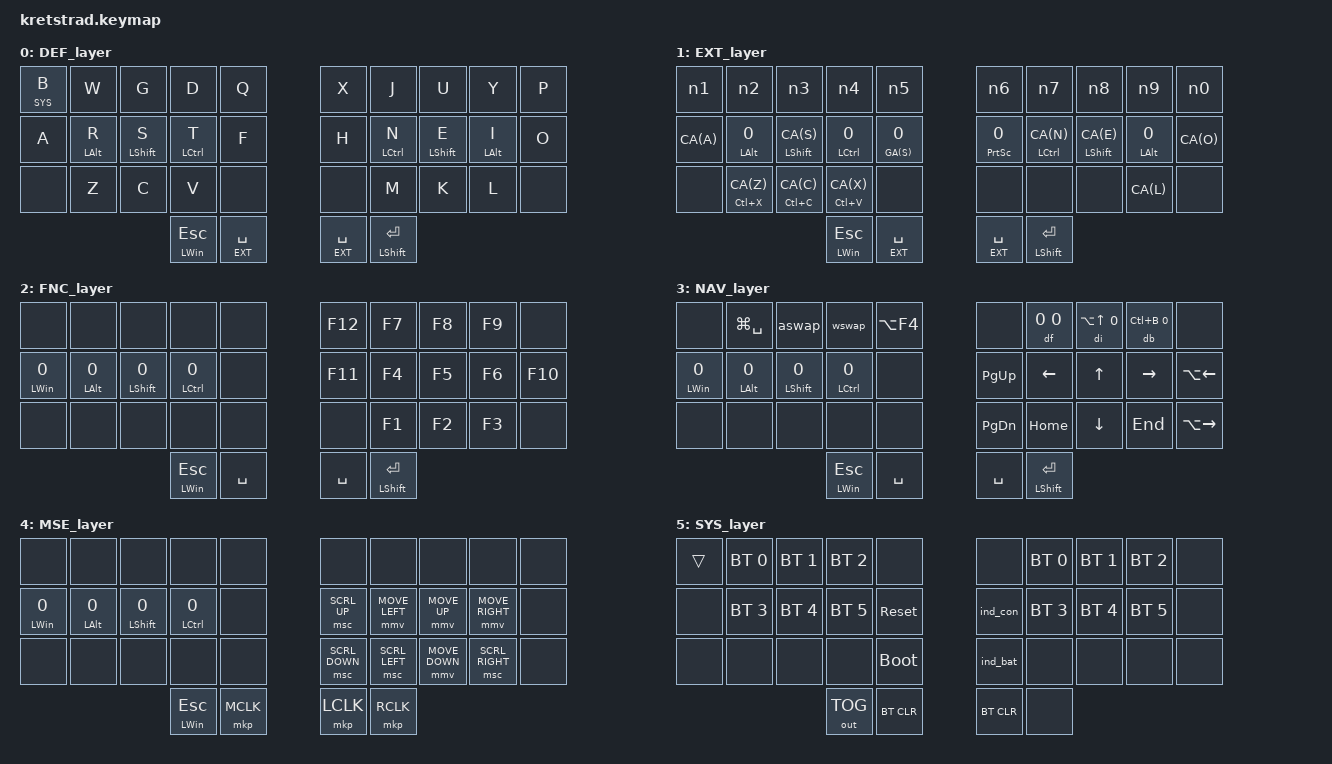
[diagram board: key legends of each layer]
#include <behaviors.dtsi>
#include <dt-bindings/zmk/behaviors.h>
#include <dt-bindings/zmk/keys.h>
#include <dt-bindings/zmk/bt.h>
#include <dt-bindings/zmk/outputs.h>
#include <behaviors/rgbled_widget.dtsi>
// #include "elpekenin/behaviors.dtsi"
// #include <dt-bindings/zmk/keys.h>
#include <behaviors/num_word.dtsi>

// Obsługa myszy (dwa poniższe DEFINE muszą być dodane przez INCLUDE)
#define ZMK_POINTING_DEFAULT_MOVE_VAL 1500  // default: 600
#define ZMK_POINTING_DEFAULT_SCRL_VAL 20    // default: 10
#include <dt-bindings/zmk/pointing.h>
#include <dt-bindings/zmk/mouse.h>

// #define DEF 0           // QWERTY
// #define COL 1           // Colemak-DH
// #define NUM 2           // liczby
// #define NAV 3           // nawigacja
// #define CONF 4          // konfiguracja (np. Bluetooth)

#define DEF 0           // DEFAULT
#define EXT 1           // ACCENTED LETTERS
#define FNC 2           // FUNCTIONS
#define NAV 3           // NAVIGATION
#define MSE 4           // MOUSE
#define SYS 5           // SYSTEM (Bluetooth configuration, etc.)

#define SFT LSHFT
#define CTL LCTRL
#define ALT LALT
#define WIN LWIN
#define SCR PSCRN

#define SG(KEY) LS(LG(KEY))
#define SA(KEY) LS(LA(KEY))
#define SC(KEY) LS(LC(KEY))
#define CA(KEY) LC(LA(KEY))
#define GA(KEY) LG(LA(KEY))
#define SCA(KEY) LS(LC(LA(KEY)))

#define SNIP LSG(S)                 // wykonuje zrzut ekranu za pomocą narzędzia SNIP (Win+Shift+S)
// #define DESK LGC(F4)                // zamyka pulpit wirtualny

/ {
    keymap {
        compatible = "zmk,keymap";

            //  |       0       |       1       |       2       |       3       |       4       |       |       5       |       6       |       7       |       8       |       9       |
        DEF_layer {
            bindings = <
                &lt SYS B       &kp W           &kp G           &kp D           &kp Q                   &kp X           &kp J           &kp U           &kp Y           &kp P
                &kp A           &hl ALT R       &hl SFT S       &hl CTL T       &kp F                   &kp H           &hr CTL N       &hr SFT E       &hr ALT I       &kp O
                &none           &kp Z           &kp C           &kp V           &none                   &none           &kp M           &kp K           &kp L           &none
                                                                &mt WIN ESC     &lt EXT SPACE           &lt EXT SPACE   &mt SFT ENTER
            >;
        };

        EXT_layer {
            bindings = <
                &n1             &n2             &n3             &n4             &n5                     &n6             &n7             &n8             &n9             &n0
                &kp CA(A)       &hl ALT 0       &hl SFT CA(S)   &hl CTL 0       &mt GA(S) 0             &mt SCR 0       &hr CTL CA(N)   &hr SFT CA(E)   &hr ALT 0       &kp CA(O)
                &none           &mt LC(X) CA(Z) &mt LC(C) CA(C) &mt LC(V) CA(X) &none                   &none           &none           &none           &kp CA(L)       &none
                                                                &mt WIN ESC     &lt EXT SPACE           &lt EXT SPACE   &mt SFT ENTER
            >;
        };

        FNC_layer {
            bindings = <
                &none           &none           &none           &none           &none                   &kp F12         &kp F7          &kp F8          &kp F9          &none 
                &hl WIN 0       &hl ALT 0       &hl SFT 0       &hl CTL 0       &none                   &kp F11         &kp F4          &kp F5          &kp F6          &kp F10
                &none           &none           &none           &none           &none                   &none           &kp F1          &kp F2          &kp F3          &none           
                                                                &mt WIN ESC     &kp SPACE               &kp SPACE       &mt SFT ENTER
            >;
        };

        NAV_layer {
            bindings = <
                &none           &kp LG(SPACE)   &aswap          &wswap          &kp LA(F4)              &none           &df 0 0         &di LA(UP) 0    &db LC(B) 0     &none
                &hl WIN 0       &hl ALT 0       &hl SFT 0       &hl CTL 0       &none                   &kp PG_UP       &kp LEFT        &kp UP          &kp RIGHT       &kp LA(LEFT)
                &none           &none           &none           &none           &none                   &kp PG_DN       &kp HOME        &kp DOWN        &kp END         &kp LA(RIGHT)
                                                                &mt WIN ESC     &kp SPACE               &kp SPACE       &mt SFT ENTER
            >;
        };        

        MSE_layer {
            bindings = <
                &none           &none           &none           &none           &none                   &none           &none           &none           &none           &none
                &hl WIN 0       &hl ALT 0       &hl SFT 0       &hl CTL 0       &none                   &msc SCRL_UP    &mmv MOVE_LEFT  &mmv MOVE_UP    &mmv MOVE_RIGHT &none
                &none           &none           &none           &none           &none                   &msc SCRL_DOWN  &msc SCRL_LEFT  &mmv MOVE_DOWN  &msc SCRL_RIGHT &none
                                                                &mt WIN ESC     &mkp MCLK               &mkp LCLK       &mkp RCLK
            >;
        };

        SYS_layer {
            bindings = <
                &trans          &bt BT_SEL 0    &bt BT_SEL 1    &bt BT_SEL 2    &none                   &none           &bt BT_SEL 0    &bt BT_SEL 1    &bt BT_SEL 2    &none
                &none           &bt BT_SEL 3    &bt BT_SEL 4    &bt BT_SEL 5    &sys_reset              &ind_con        &bt BT_SEL 3    &bt BT_SEL 4    &bt BT_SEL 5    &none
                &none           &none           &none           &none           &bootloader             &ind_bat        &none           &none           &none           &none
                                                                &out OUT_TOG    &bt BT_CLR              &bt BT_CLR      &none
            >;
        };
    };

    combos {
        compatible = "zmk,combos";
    
        /*                KEY POSITIONS
        ╭────────────────────╮ ╭────────────────────╮
        │  0   1   2   3   4 │ │  5   6   7   8   9 │
        │ 10  11  12  13  14 │ │ 15  16  17  18  19 │
        │ 20  21  22  23  24 │ │ 25  26  27  28  29 │
        ╰───────────╮ 30  31 │ │ 32  33 ╭───────────╯
                    ╰────────╯ ╰────────╯         */

        combo_caps  {key-positions = <10 19>; bindings = <&kp CAPS>; layers = <DEF EXT>; timeout-ms = <100>;};
        combo_cwrd  {key-positions = <12 17>; bindings = <&caps_word>; layers = <DEF EXT>; timeout-ms = <100>;};
        combo_nav   {key-positions = <31 32>; bindings = <&an NAV NAV>; layers = <DEF EXT>; timeout-ms = <100>;};
        combo_fnc   {key-positions = <30 33>; bindings = <&af FNC FNC>; layers = <DEF>; timeout-ms = <100>;};

        combo_tab   {key-positions = <22 23>; bindings = <&kp TAB>; layers = <DEF>; timeout-ms = <100>;};
        combo_esc   {key-positions = <22 23>; bindings = <&kp ESC>; layers = <EXT>; timeout-ms = <100>;};
        combo_bsp   {key-positions = <26 27>; bindings = <&kp BSPC>; layers = <DEF>; timeout-ms = <100>;};
        combo_del   {key-positions = <26 27>; bindings = <&kp DEL>; layers = <EXT>; timeout-ms = <100>;};

        combo_lead  {key-positions = <0 10>; bindings = <&leader>; layers = <DEF>; timeout-ms = <100>;};
        combo_mouse {key-positions = <9 19>; bindings = <&mouse MSE>; layers = <DEF>; timeout-ms = <100>;};

        // TOP-MIDDLE ROW
        combo_grave {key-positions = <2 3>; bindings = <&grave>; layers = <DEF>; timeout-ms = <100>;};
        combo_apos  {key-positions = <6 7>; bindings = <&apos>; layers = <DEF>; timeout-ms = <100>;};
        combo_tilde {key-positions = <2 3>; bindings = <&kp TILDE>; layers = <EXT>; timeout-ms = <100>;};
        combo_dqt   {key-positions = <6 7>; bindings = <&kp DQT>; layers = <EXT>; timeout-ms = <100>;};

        combo_lbkt  {key-positions = <1 11>; bindings = <&lbkt>; layers = <DEF>; timeout-ms = <100>;};
        combo_rbkt  {key-positions = <2 12>; bindings = <&rbkt>; layers = <DEF>; timeout-ms = <100>;};
        combo_bslh  {key-positions = <3 13>; bindings = <&bslh>; layers = <DEF>; timeout-ms = <100>;};
        combo_plus  {key-positions = <4 14>; bindings = <&plpe>; layers = <DEF>; timeout-ms = <100>;};
        combo_star  {key-positions = <5 15>; bindings = <&stun>; layers = <DEF>; timeout-ms = <100>;};
        combo_fslh  {key-positions = <6 16>; bindings = <&fslh>; layers = <DEF>; timeout-ms = <100>;};
        combo_lpar  {key-positions = <7 17>; bindings = <&lpar>; layers = <DEF>; timeout-ms = <100>;};
        combo_rpar  {key-positions = <8 18>; bindings = <&rpar>; layers = <DEF>; timeout-ms = <100>;};

        combo_lbrc  {key-positions = <1 11>; bindings = <&kp LBRC>; layers = <EXT>; timeout-ms = <100>;};
        combo_rbrc  {key-positions = <2 12>; bindings = <&kp RBRC>; layers = <EXT>; timeout-ms = <100>;};
        combo_excl  {key-positions = <3 13>; bindings = <&kp EXCL>; layers = <EXT>; timeout-ms = <100>;};
        combo_qmark {key-positions = <6 16>; bindings = <&kp QMARK>; layers = <EXT>; timeout-ms = <100>;};
        combo_lt    {key-positions = <7 17>; bindings = <&kp LT>; layers = <EXT>; timeout-ms = <100>;};
        combo_gt    {key-positions = <8 18>; bindings = <&kp GT>; layers = <EXT>; timeout-ms = <100>;};

        // MIDDLE-BOTTOM ROW
        combo_colon {key-positions = <11 21>; bindings = <&colon>; layers = <DEF>; timeout-ms = <100>;};
        combo_semi  {key-positions = <12 22>; bindings = <&semi>; layers = <DEF>; timeout-ms = <100>;};
        combo_equal {key-positions = <13 23>; bindings = <&equal>; layers = <DEF>; timeout-ms = <100>;};
        combo_minus {key-positions = <16 26>; bindings = <&minus>; layers = <DEF>; timeout-ms = <100>;};
        combo_comma {key-positions = <17 27>; bindings = <&comma>; layers = <DEF>; timeout-ms = <100>;};
        combo_dot   {key-positions = <18 28>; bindings = <&dot>; layers = <DEF>; timeout-ms = <100>;};
        // combo_under {key-positions = <27 28>; bindings = <&under>; layers = <DEF>; timeout-ms = <100>;};

        combo_at    {key-positions = <11 21>; bindings = <&kp AT>; layers = <EXT>; timeout-ms = <100>;};
        combo_hash  {key-positions = <12 22>; bindings = <&kp HASH>; layers = <EXT>; timeout-ms = <100>;};
        combo_dllr  {key-positions = <13 23>; bindings = <&kp DLLR>; layers = <EXT>; timeout-ms = <100>;};
        combo_prcnt {key-positions = <4 14>; bindings = <&kp PRCNT>; layers = <EXT>; timeout-ms = <100>;};
        combo_under {key-positions = <5 15>; bindings = <&kp UNDER>; layers = <EXT>; timeout-ms = <100>;};
        combo_caret {key-positions = <16 26>; bindings = <&kp CARET>; layers = <EXT>; timeout-ms = <100>;};
        combo_amps  {key-positions = <17 27>; bindings = <&kp AMPS>; layers = <EXT>; timeout-ms = <100>;};
        combo_pipe  {key-positions = <18 28>; bindings = <&kp PIPE>; layers = <EXT>; timeout-ms = <100>;};
        // combo_prcnt {key-positions = <24 25>; bindings = <&kp PRCNT>; layers = <EXT>; timeout-ms = <100>;};
        
        
        // // CAPSLOCK, CAPSWORD
        // clck    {key-positions = <3 6>; bindings = <&kp CLCK>; layers = <DEF COL>; COMBO;};                     // CAPSLOCK
        // cwrd    {key-positions = <13 16>; bindings = <&caps_word>; layers = <DEF COL>; COMBO;};                 // CAPSWORD

        // // ESC, TAB, DEL and BSPC
        // // esc     {key-positions = <2 3>; bindings = <&kp ESC>; layers = <DEF COL NUM NAV>; COMBO;};              // ESC
        // tab     {key-positions = <12 13>; bindings = <&kp TAB>; layers = <DEF COL NUM NAV>; COMBO;};            // TAB
        // // del     {key-positions = <6 7>; bindings = <&kp DEL>; layers = <DEF COL NUM NAV>; COMBO;};              // DEL
        // // bspc    {key-positions = <16 17>; bindings = <&kp BSPC>; layers = <DEF COL NUM NAV>; COMBO;};           // BSPC
        // bsdl    {key-positions = <16 17>; bindings = <&bsdl>; layers = <DEF COL NUM NAV>; COMBO;};              // BSDL

        // // GRAVE, APOS
        // grave   {key-positions = <14 24>; bindings = <&kp GRAVE>; layers = <DEF COL>; COMBO;};                  // `~
        // apos    {key-positions = <15 25>; bindings = <&kp APOS>; layers = <DEF COL>; COMBO;};                   // '"

        // NUMERICS
        // n1      {key-positions = <0 10>; bindings = <&kp N1>; layers = <DEF COL>; COMBO;};                      // 1
        // n2      {key-positions = <1 11>; bindings = <&kp N2>; layers = <DEF COL>; COMBO;};                      // 2
        // n3      {key-positions = <2 12>; bindings = <&kp N3>; layers = <DEF COL>; COMBO;};                      // 3
        // n4      {key-positions = <3 13>; bindings = <&kp N4>; layers = <DEF COL>; COMBO;};                      // 4
        // n5      {key-positions = <4 14>; bindings = <&kp N5>; layers = <DEF COL>; COMBO;};                      // 5
        // n6      {key-positions = <5 15>; bindings = <&kp N6>; layers = <DEF COL>; COMBO;};                      // 6
        // n7      {key-positions = <6 16>; bindings = <&kp N7>; layers = <DEF COL>; COMBO;};                      // 7
        // n8      {key-positions = <7 17>; bindings = <&kp N8>; layers = <DEF COL>; COMBO;};                      // 8
        // n9      {key-positions = <8 18>; bindings = <&kp N9>; layers = <DEF COL>; COMBO;};                      // 9
        // n0      {key-positions = <9 19>; bindings = <&kp N0>; layers = <DEF COL>; COMBO;};                      // 0

        // // SYMBOLS
        // s1      {key-positions = <0 10>; bindings = <&kp EXCL>; layers = <NUM>; COMBO;};                        // !
        // s2      {key-positions = <1 11>; bindings = <&kp AT>; layers = <NUM>; COMBO;};                          // @
        // s3      {key-positions = <2 12>; bindings = <&kp HASH>; layers = <NUM>; COMBO;};                        // #
        // s4      {key-positions = <3 13>; bindings = <&kp DLLR>; layers = <NUM>; COMBO;};                        // $
        // s5      {key-positions = <4 14>; bindings = <&kp PRCNT>; layers = <NUM>; COMBO;};                       // %
        // s6      {key-positions = <5 15>; bindings = <&kp CARET>; layers = <NUM>; COMBO;};                       // ^
        // s7      {key-positions = <6 16>; bindings = <&kp AMPS>; layers = <NUM>; COMBO;};                        // &
        // s8      {key-positions = <7 17>; bindings = <&kp ASTRK>; layers = <NUM>; COMBO;};                       // *
        // // s9      {key-positions = <8 18>; bindings = <&kp N9>; layers = <NUM>; COMBO;};                           // (
        // // s10     {key-positions = <9 19>; bindings = <&kp N0>; layers = <NUM>; COMBO;};                           // )
        // s11     {key-positions = <10 20>; bindings = <&kp PIPE>; layers = <NUM>; COMBO;};                       // |
        // s12     {key-positions = <19 29>; bindings = <&kp QMARK>; layers = <NUM>; COMBO;};                      // ?
        // s13     {key-positions = <14 24>; bindings = <&kp TILDE>; layers = <NUM>; COMBO;};                      // ~
        // s14     {key-positions = <15 25>; bindings = <&kp DQT>; layers = <NUM>; COMBO;};                        // "

        // // PAR, BKT
        // lpar    {key-positions = <17 27>; bindings = <&kp LPAR>; layers = <DEF COL NUM>; COMBO;};               // (
        // rpar    {key-positions = <18 28>; bindings = <&kp RPAR>; layers = <DEF COL NUM>; COMBO;};               // )
        // lbkt    {key-positions = <11 21>; bindings = <&kp LBKT>; layers = <DEF COL>; COMBO;};                   // [{
        // rbkt    {key-positions = <12 22>; bindings = <&kp RBKT>; layers = <DEF COL>; COMBO;};                   // ]}
        // lbrc    {key-positions = <11 21>; bindings = <&kp LBRC>; layers = <NUM>; COMBO;};                       // {
        // rbrc    {key-positions = <12 22>; bindings = <&kp RBRC>; layers = <NUM>; COMBO;};                       // }

        // // EQUAL, COLON
        // equal   {key-positions = <13 23>; bindings = <&kp EQUAL>; layers = <DEF COL NUM>; COMBO;};              // =
        // colon   {key-positions = <16 26>; bindings = <&kp COLON>; layers = <DEF COL NUM>; COMBO;};              // :

        // // SLASH, BSLH
        // bslh    {key-positions = <10 20>; bindings = <&kp BSLH>; layers = <DEF COL>; LCOMBO;};                  // \|
        // slash   {key-positions = <19 29>; bindings = <&kp SLASH>; layers = <DEF COL>; LCOMBO;};                 // /?

        // // MINUS, PLUS, DIV and MUL
        // plus    {key-positions = <13 14>; bindings = <&kp PLUS>; layers = <DEF COL NUM>; COMBO;};               // +
        // mul     {key-positions = <23 24>; bindings = <&kp STAR>; layers = <DEF COL NUM>; COMBO;};                 // *
        // minus   {key-positions = <15 16>; bindings = <&kp MINUS>; layers = <DEF COL NUM>; COMBO;};              // -_
        // div     {key-positions = <25 26>; bindings = <&kp SLASH>; layers = <DEF COL NUM>; COMBO;};                // /

        // // NAV LAYERS COMBOS
        // home    {key-positions = <16 26>; bindings = <&kp HOME>; layers = <NAV>; COMBO;};                       // HOME
        // end     {key-positions = <18 28>; bindings = <&kp END>; layers = <NAV>; COMBO;};                        // END
        // bounce  {key-positions = <15 25>; bindings = <&kp LSC(UP)>; layers = <NAV>; COMBO;};                     // Declaration <-> Implementation

        // // PREV/NEXT/DROP BOOKMARKS
        // bmrk1   {key-positions = <6 16>; bindings = <&kp LCA(LEFT)>; layers = <NAV>; COMBO;};                   // Bookmark prev (Parnassus)
        // bmrk2   {key-positions = <8 18>; bindings = <&kp LCA(RIGHT)>; layers = <NAV>; COMBO;};                  // Bookmark next (Parnassus)
        // bmrk3   {key-positions = <7 17>; bindings = <&kp LC(B)>; layers = <NAV>; COMBO;};                       // Bookmark drop (Parnassus)
        // bmrk4   {key-positions = <14 24>; bindings = <&kp LS(ESC)>; layers = <NAV>; COMBO;};                    // Bookmark drop (Parnassus) - Jumps between two caret bookmarks


        // // UTILS
        // comment {key-positions = <19 29>; bindings = <&kp LC(SLASH)>; layers = <NAV>; LCOMBO;};                 // Ctrl + / - przydaje się do komentowania kodu
        // // exit    {key-positions = <1 2>; bindings = <&kp LG(ESC)>; layers = <NAV>; COMBO;};                      // EXIT (wyjście z Magnify)
    };

    behaviors {
        #define SMORPH(NAME, BINDING1, BINDING2) \
        NAME: NAME { \
            compatible = "zmk,behavior-mod-morph"; #binding-cells = <0>; \
            bindings = <BINDING1>, <BINDING2>; \
            mods = <(MOD_LSFT|MOD_RSFT)>; \
        };

        #define CMORPH(NAME, BINDING1, BINDING2) \
        NAME: NAME { \
            compatible = "zmk,behavior-mod-morph"; #binding-cells = <0>; \
            bindings = <BINDING1>, <BINDING2>; \
            mods = <(MOD_LCTL|MOD_RCTL)>; \
        };

        #define HOLD(NAME, BINDING1, BINDING2) \
        NAME: NAME { \
            compatible = "zmk,behavior-hold-tap"; #binding-cells = <2>; tapping-term-ms = <200>; quick-tap-ms = <175>; \
            bindings = <BINDING1>, <BINDING2>; \
            flavor = "balanced"; \
        };

        SMORPH(tab,     &kp TAB,    &kp ESC)
        SMORPH(bsp,     &kp BSPC,   &kp DEL)

        SMORPH(lpar,    &kp LPAR,   &kp LT)
        SMORPH(rpar,    &kp RPAR,   &kp GT)
        SMORPH(lbkt,    &kp LBKT,   &kp LBRC)
        SMORPH(rbkt,    &kp RBKT,   &kp RBRC)

        SMORPH(grave,   &kp GRAVE,  &kp TILDE)
        SMORPH(apos,    &kp APOS,   &kp DQT)

        SMORPH(bslh,    &kp BSLH,   &kp EXCL)
        SMORPH(fslh,    &kp FSLH,   &kp QMARK)

        SMORPH(plpe,    &kp PLUS,   &kp PRCNT)
        SMORPH(stun,    &kp STAR,   &kp UNDER)
        SMORPH(mipl,    &kp MINUS,  &kp PLUS)
        SMORPH(fsst,    &kp FSLH,   &kp STAR)

        SMORPH(colon,   &kp COLON,  &kp AT)
        SMORPH(semi,    &kp SEMI,   &kp HASH)
        SMORPH(equal,   &kp EQUAL,  &kp DLLR)
        SMORPH(minus,   &kp MINUS,  &kp CARET)
        SMORPH(comma,   &kp COMMA,  &kp AMPS)
        SMORPH(dot,     &kp DOT,    &kp PIPE)
        SMORPH(under,   &kp UNDER,  &kp PRCNT)

        SMORPH(n1,      &kp N1,     &kp N1)
        SMORPH(n2,      &kp N2,     &kp N2)
        SMORPH(n3,      &kp N3,     &kp N3)
        SMORPH(n4,      &kp N4,     &kp N4)
        SMORPH(n5,      &kp N5,     &kp N5)
        SMORPH(n6,      &kp N6,     &kp N6)
        SMORPH(n7,      &kp N7,     &kp N7)
        SMORPH(n8,      &kp N8,     &kp N8)
        SMORPH(n9,      &kp N9,     &kp N9)
        SMORPH(n0,      &kp N0,     &kp N0)

        // Obsługa lupy windowsowej
        SMORPH(zma,     &kp LG(EQUAL), &kp LG(MINUS))
        HOLD(zm,        &kp, &zma)

        // Iterowanie po kolejnych wystąpieniach identyfikatora + Skok do definicji (po przytrzymaniu klawisza)
        SMORPH(dii,     &kp CA(DOWN), &kp CA(UP))
        HOLD(di,        &kp, &dii)

        // Iterowanie po kolejnych zakładkach + Dodawanie / Usuwanie nowej zakładki (wymaga Parnassus Bookmarks)
        SMORPH(dbi,     &kp CA(RIGHT), &kp CA(LEFT))
        HOLD(db,        &kp, &dbi)

        // Wyszukiwanie (DELPHI)
        SMORPH(dfi,     &kp F3, &kp LS(F3))         // Search next or serch prev (if SHIFT is pressed)
        SMORPH(dfs,     &kp LC(F), &kp LC(G))       // Search (Ctrl+F) or Goto (Ctrl+G) from Parnassus Navigator
        HOLD(df,        &dfs, &dfi)

        // Przejście po historycznych położęniach kursora (BACKWARD / FORWARD) + skok do deklaracji
        SMORPH(hst,     &kp LA(LEFT), &kp LA(RIGHT))
        HOLD(hist,      &kp, &hst)

        // Home row mods
        hl: homerow_mods_left {
            compatible = "zmk,behavior-hold-tap"; #binding-cells = <2>; flavor = "balanced"; tapping-term-ms = <250>; quick-tap-ms = <150>; // require-prior-idle-ms = <150>;
            bindings = <&kp>, <&kp>;
            hold-trigger-key-positions = <5 6 7 8 9 15 16 17 18 19 25 26 27 28 29 30 31 32 33>; hold-trigger-on-release;
        };

        hr: homerow_mods_right {
            compatible = "zmk,behavior-hold-tap"; #binding-cells = <2>; flavor = "balanced"; tapping-term-ms = <250>; quick-tap-ms = <150>; // require-prior-idle-ms = <150>;
            bindings = <&kp>, <&kp>;
            hold-trigger-key-positions = <0 1 2 3 4 10 11 12 13 14 20 21 22 23 24 30 31 32 33>; hold-trigger-on-release;
        };

        anl: auto_navigation_layer {
            compatible = "zmk,behavior-auto-layer"; #binding-cells = <1>;
            continue-list = <LEFT RIGHT UP DOWN HOME END PG_UP PG_DN>;
            ignore-modifiers;
        };

        an: auto_number_layer_smart {
            compatible = "zmk,behavior-hold-tap"; #binding-cells = <2>; flavor = "balanced"; tapping-term-ms = <250>; quick-tap-ms = <150>; // require-prior-idle-ms = <150>;
            bindings = <&mo>, <&anl>;
        };

        afl: auto_function_layer {    // based on num_word behavior
            compatible = "zmk,behavior-auto-layer"; #binding-cells = <1>;
            continue-list = <F1 F2 F3 F4 F5 F6 F7 F8 F9 F10 F11 F12>;
            ignore-modifiers;
        };

        af: auto_function_layer_smart {
            compatible = "zmk,behavior-hold-tap"; #binding-cells = <2>; flavor = "balanced"; tapping-term-ms = <250>; quick-tap-ms = <150>; // require-prior-idle-ms = <150>;
            bindings = <&mo>, <&afl>; 
        };

        mouse: auto_mouse_layer_smart {
            compatible = "zmk,behavior-auto-layer"; #binding-cells = <1>;
            continue-list = <LCLK RCLK MCLK MOVE_UP MOVE_DOWN MOVE_LEFT MOVE_RIGHT SCRL_UP SCRL_DOWN SCRL_LEFT SCRL_RIGHT>;
            ignore-modifiers;
        };

        // App / Window swapper
        swap: swapper {
            compatible = "zmk,behavior-tri-state"; #binding-cells = <0>;
            bindings = <&kt ALT>, <&kp TAB>, <&kt ALT>;
            ignored-key-positions = <29>;   
        };

        aswap: application_swap {
            compatible = "zmk,behavior-mod-morph"; #binding-cells = <0>; mods = <(MOD_LSFT|MOD_RSFT)>;
            bindings = <&swap>, <&kp LS(TAB)>;
        };

        // App / Window swapper
        wswap: windows_swapper {
            compatible = "zmk,behavior-tri-state"; #binding-cells = <0>;
            bindings = <&kt ALT>, <&kp GRAVE>, <&kt ALT>;
            ignored-key-positions = <29>;   
        };

        leader: leader_key {
            compatible = "zmk,behavior-leader-key"; #binding-cells = <0>;
            // usb {sequence = <U S B>; bindings = <&out OUT_USB>;};
            // ble {sequence = <B L E>; bindings = <&out OUT_BLE>;};
            // bt0 {sequence = <B N0>; bindings = <&bt BT_SEL 0>;};
            // bt1 {sequence = <B N1>; bindings = <&bt BT_SEL 1>;};
            // bt2 {sequence = <B N2>; bindings = <&bt BT_SEL 2>;};
            // btc {sequence = <C L E A R>; bindings = <&bt BT_CLR>;};
            boot {sequence = <B O O T>; bindings = <&bootloader>;};
            reset {sequence = <R E S E T>; bindings = <&sys_reset>;};
        };

        // prev: prev_app_or_desktop {
        //     compatible = "zmk,behavior-mod-morph";
        //     label = "PREV_APP_OR_VDESK_OR_CLOSE_VDESK_ON_HOLD";
        //     #binding-cells = <0>;
        //     bindings = <&mt LG(LC(F4)) LG(LC(LEFT))>, <&kp LS(TAB)>;
        //     mods = <(MOD_LALT)>;
        //     keep-mods = <(MOD_LALT)>;
        // };

        // next: next_app_or_desktop {
        //     compatible = "zmk,behavior-mod-morph";
        //     label = "NEXT_APP_OR_VDESK_OR_NEW_VDESK_ON_HOLD";
        //     #binding-cells = <0>;
        //     bindings = <&mt LG(LC(D)) LG(LC(RIGHT))>, <&kp TAB>;
        //     mods = <(MOD_LALT)>;
        //     keep-mods = <(MOD_LALT)>;
        // };

        // zoom_in_out: windows_magnifier {
        //     compatible = "zmk,behavior-mod-morph";
        //     label = "ZOOM_IN_OUT";
        //     #binding-cells = <0>;
        //     bindings = <&kp LG(EQUAL)>, <&kp LG(MINUS)>;
        //     mods = <(MOD_LSFT | MOD_LCTL)>;
        // };

        // zoom: zoom {
        //     compatible = "zmk,behavior-hold-tap";
        //     label = "ZOOM";
        //     #binding-cells = <2>;
        //     flavor = "balanced";
        //     tapping-term-ms = <200>;
        //     quick-tap-ms = <100>;
        //     bindings = <&kp>, <&zoom_in_out>;
        // };

        // lbk: lbkt_lbrc {
        //     compatible = "zmk,behavior-mod-morph";
        //     label = "LEFT_BRACKET_BRACE";
        //     #binding-cells = <0>;
        //     bindings = <&kp LBKT>, <&kp LBRC>;
        //     mods = <(MOD_LCTL)>;
        // };

        // rbk: rbkt_rbrc {
        //     compatible = "zmk,behavior-mod-morph";
        //     label = "RIGHT_BRACKET_BRACE";
        //     #binding-cells = <0>;
        //     bindings = <&kp RBKT>, <&kp RBRC>;
        //     mods = <(MOD_LCTL)>;
        // };

        // lpb: lpar_rbkt {
        //     compatible = "zmk,behavior-mod-morph";
        //     label = "LEFT_PARENTHESIS_BRACKET_BRACE";
        //     #binding-cells = <0>;
        //     bindings = <&kp LPAR>, <&lbk>;
        //     mods = <(MOD_LSFT)>;
        // };

        // rpb: rpar_rbkt {
        //     compatible = "zmk,behavior-mod-morph";
        //     label = "RIGHT_PARENTHESIS_BRACKET_BRACE";
        //     #binding-cells = <0>;
        //     bindings = <&kp RPAR>, <&rbk>;
        //     mods = <(MOD_LSFT)>;
        // };

        // lpb: lpar_lbkt {
        //     compatible = "zmk,behavior-mod-morph";
        //     label = "LEFT_PARENTHESIS_BRACKET";
        //     #binding-cells = <0>;
        //     bindings = <&kp LPAR>, <&kp LBKT>;
        //     mods = <(MOD_LCTL)>;
        // };

        // rpb: rpar_rbkt {
        //     compatible = "zmk,behavior-mod-morph";
        //     label = "RIGHT_PARENTHESIS_BRACKET";
        //     #binding-cells = <0>;
        //     bindings = <&kp RPAR>, <&kp RBKT>;
        //     mods = <(MOD_LCTL)>;
        // };

        // hm: homerow_mods {
        //     compatible = "zmk,behavior-hold-tap";
        //     label = "HOMEROW_MODS";
        //     #binding-cells = <2>;
        //     flavor = "balanced";
        //     tapping-term-ms = <200>;
        //     quick-tap-ms = <100>;
        //     bindings = <&kp>, <&kp>;
        // };

        // bsdl: bspc_del {
        //     compatible = "zmk,behavior-mod-morph";
        //     #binding-cells = <0>;
        //     bindings = <&kp BSPC>, <&kp DEL>;
        //     mods = <(MOD_LSFT|MOD_RSFT)>;
        //     keep-mods = <(MOD_RSFT)>;
        // };

        // zoom_actions: windows_magnifier_actions { // powiększanie i pomniejszanie (Win++ / Win+-)
        //     compatible = "zmk,behavior-mod-morph";
        //     #binding-cells = <0>;
        //     bindings = <&kp LG(EQUAL)>, <&kp LG(MINUS)>;
        //     mods = <(MOD_LSFT|MOD_RSFT)>;
        // };

        // zoom: windows_magnifier {
        //     compatible = "zmk,behavior-hold-tap";
        //     #binding-cells = <2>;
        //     // flavor = "hold-preferred";
        //     tapping-term-ms = <400>;
        //     // quick-tap-ms = <200>;
        //     bindings = <&kp>, <&zoom_actions>;
        // };
    };

    macros {
        // dm: delphi_macro { // code block folding
        //     #binding-cells = <1>;
        //     compatible = "zmk,behavior-macro-one-param";
        //     bindings =
        //         <&macro_press &kp LSHFT &kp LCTRL>,
        //         <&macro_tap &kp K>,
        //         <&macro_param_1to1 &kp MACRO_PLACEHOLDER>,
        //         <&macro_release &kp LSHFT &kp LCTRL>;
        // };

        // dequal: delphi_equal {
        //     #binding-cells = <0>;
        //     label = "DELPHI_EQUAL";
        //     compatible = "zmk,behavior-macro";
        //     bindings = <&macro_tap &kp COLON &kp EQUAL>;
        // };
    };

    // conditional_layers {
    //     compatible = "zmk,conditional-layers";
    //     tri_layer {
    //         if-layers = <NUM NAV>;
    //         then-layer = <FUN>;
    //     };
    // };
};

&mt {
    // flavor = "tap-preferred";
    tapping-term-ms = <200>;
    // quick-tap-ms = <150>;
    // require-prior-idle-ms = <100>;
};

&lt {
    // flavor = "tap-preferred";
    tapping-term-ms = <200>;
    quick-tap-ms = <150>;
    // require-prior-idle-ms = <100>;
};

&caps_word {
    continue-list = <UNDER BSPC DEL>;
};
